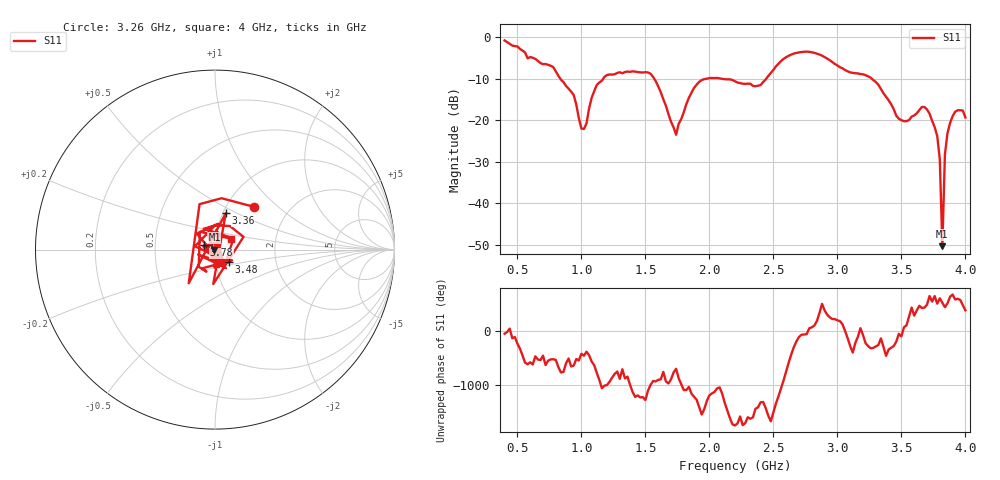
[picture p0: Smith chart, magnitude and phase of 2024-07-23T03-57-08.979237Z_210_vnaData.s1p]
!Created with skrf (http://scikit-rf.org).
# Hz S RI R 50.0
!freq ReS11 ImS11
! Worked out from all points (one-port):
!   181 points, 400 MHz to 4 GHz, reference 50 ohm
!   lowest |S11| = -50.4 dB at 3.82 GHz (marker M1), VSWR 1.01, Z = 49.7 + j0.0275 ohm
!   |S11| at or under -10 dB: 1.569 GHz to 1.98 GHz (411.7 MHz wide, 23.2 % of centre); 2.092 GHz to 2.444 GHz (352.1 MHz wide, 15.5 % of centre); 3.269 GHz to end of sweep (the widest 3 of 4)
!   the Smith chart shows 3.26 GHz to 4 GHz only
!   S11 on the Smith chart (normalised r, x): 3.26 GHz: 1.34, +0.72; 3.36 GHz: 1.03, +0.44; 3.48 GHz: 1.15, -0.16; 3.78 GHz: 0.89, +0.04; 4 GHz: 1.19, +0.15
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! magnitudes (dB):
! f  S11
! 400 MHz  -0.8
! 780 MHz  -7.2
! 860 MHz  -10.8
! 940 MHz  -14.0
! 1 GHz  -22.0
! 1.02 GHz  -22.1
! 1.12 GHz  -11.5
! 1.3 GHz  -8.5
! 1.54 GHz  -8.8
! 1.74 GHz  -23.5
! 1.76 GHz  -20.9
! 1.92 GHz  -10.8
! 2.2 GHz  -10.6
! 2.4 GHz  -11.5
! 2.66 GHz  -3.9
! 3.1 GHz  -8.5
! 3.26 GHz  -9.8
! 3.36 GHz  -13.5
! 3.48 GHz  -19.7
! 3.56 GHz  -20.0
! 3.68 GHz  -16.8
! 3.78 GHz  -23.8
! 3.8 GHz  -29.4
! 3.82 GHz  -50.4
! 3.84 GHz  -28.3
! 3.86 GHz  -23.1
! 3.92 GHz  -18.0
! 4 GHz  -19.4
